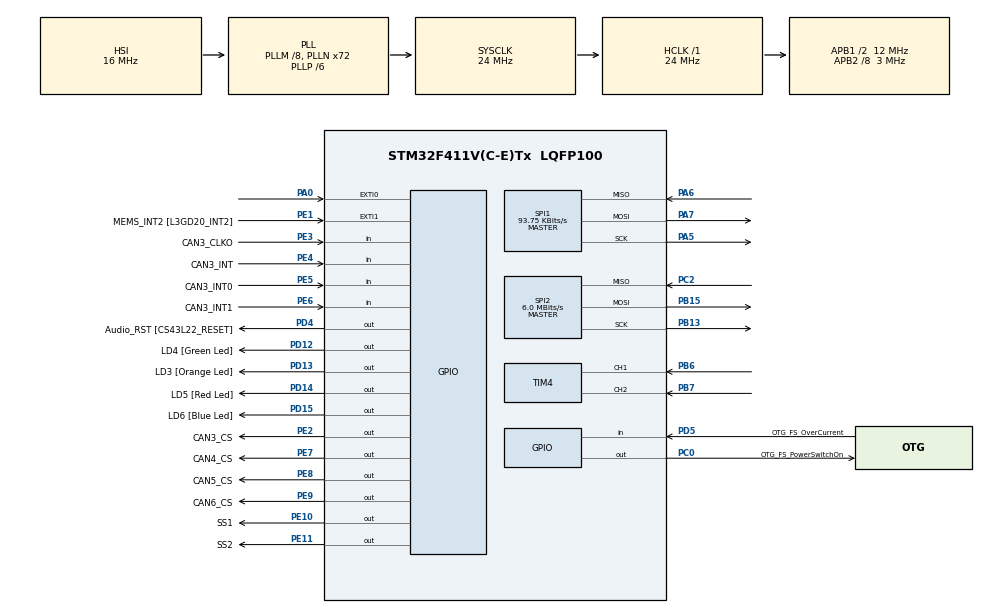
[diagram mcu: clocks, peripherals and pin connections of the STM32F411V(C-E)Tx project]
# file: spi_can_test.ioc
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Mcu.Family=STM32F4
Mcu.Name=STM32F411V(C-E)Tx
Mcu.Package=LQFP100
NVIC.PriorityGroup=NVIC_PRIORITYGROUP_0
PA0-WKUP.GPIO_ModeDefaultEXTI=GPIO_MODE_EVT_RISING
PA0-WKUP.Signal=GPXTI0
PA13.GPIO_Label=SWDIO
PA13.Mode=Serial_Wire
PA13.Signal=SYS_JTMS-SWDIO
PA14.GPIO_Label=SWCLK
PA14.Mode=Serial_Wire
PA14.Signal=SYS_JTCK-SWCLK
PA5.Mode=Full_Duplex_Master
PA5.Signal=SPI1_SCK
PA6.Mode=Full_Duplex_Master
PA6.Signal=SPI1_MISO
PA7.Mode=Full_Duplex_Master
PA7.Signal=SPI1_MOSI
PB13.Mode=Full_Duplex_Master
PB13.Signal=SPI2_SCK
PB15.Mode=Full_Duplex_Master
PB15.Signal=SPI2_MOSI
PB6.Signal=S_TIM4_CH1
PB7.Signal=S_TIM4_CH2
PC0.GPIO_Label=OTG_FS_PowerSwitchOn
PC0.PinState=GPIO_PIN_SET
PC0.Signal=GPIO_Output
PC2.Mode=Full_Duplex_Master
PC2.Signal=SPI2_MISO
PD12.GPIO_Label=LD4 [Green Led]
PD12.GPIO_PuPd=GPIO_NOPULL
PD12.GPIO_Speed=GPIO_SPEED_FREQ_LOW
PD12.Signal=GPIO_Output
PD13.GPIO_Label=LD3 [Orange Led]
PD13.GPIO_PuPd=GPIO_NOPULL
PD13.GPIO_Speed=GPIO_SPEED_FREQ_LOW
PD13.Signal=GPIO_Output
PD14.GPIO_Label=LD5 [Red Led]
PD14.GPIO_PuPd=GPIO_NOPULL
PD14.GPIO_Speed=GPIO_SPEED_FREQ_LOW
PD14.Signal=GPIO_Output
PD15.GPIO_Label=LD6 [Blue Led]
PD15.GPIO_PuPd=GPIO_NOPULL
PD15.GPIO_Speed=GPIO_SPEED_FREQ_LOW
PD15.Signal=GPIO_Output
PD4.GPIO_Label=Audio_RST [CS43L22_RESET]
PD4.Signal=GPIO_Output
PD5.GPIO_Label=OTG_FS_OverCurrent
PD5.Signal=GPIO_Input
PE1.GPIO_Label=MEMS_INT2 [L3GD20_INT2]
PE1.GPIO_ModeDefaultEXTI=GPIO_MODE_EVT_RISING
PE1.Signal=GPXTI1
PE10.GPIO_Label=SS1
PE10.Signal=GPIO_Output
PE11.GPIO_Label=SS2
PE11.Signal=GPIO_Output
PE2.GPIO_Label=CAN3_CS
PE2.Signal=GPIO_Output
PE3.GPIO_Label=CAN3_CLKO
PE3.Signal=GPIO_Input
PE4.GPIO_Label=CAN3_INT
PE4.Signal=GPIO_Input
PE5.GPIO_Label=CAN3_INT0
PE5.Signal=GPIO_Input
PE6.GPIO_Label=CAN3_INT1
PE6.Signal=GPIO_Input
PE7.GPIO_Label=CAN4_CS
PE7.Signal=GPIO_Output
PE8.GPIO_Label=CAN5_CS
PE8.Signal=GPIO_Output
PE9.GPIO_Label=CAN6_CS
PE9.Signal=GPIO_Output
PH0\ -\ OSC_IN.GPIO_Label=PH0-OSC_IN
PH0\ -\ OSC_IN.Mode=HSE-External-Oscillator
PH0\ -\ OSC_IN.Signal=RCC_OSC_IN
PH1\ -\ OSC_OUT.GPIO_Label=PH1-OSC_OUT
PH1\ -\ OSC_OUT.Mode=HSE-External-Oscillator
PH1\ -\ OSC_OUT.Signal=RCC_OSC_OUT
ProjectManager.HeapSize=0x200
ProjectManager.StackSize=0x400
ProjectManager.TargetToolchain=STM32CubeIDE
RCC.48MHZClocksFreq_Value=18000000
RCC.AHBFreq_Value=24000000
RCC.APB1CLKDivider=RCC_HCLK_DIV2
RCC.APB1Freq_Value=12000000
RCC.APB1TimFreq_Value=24000000
RCC.APB2CLKDivider=RCC_HCLK_DIV8
RCC.APB2Freq_Value=3000000
RCC.APB2TimFreq_Value=6000000
RCC.CortexFreq_Value=24000000
RCC.HCLKFreq_Value=24000000
RCC.HSE_VALUE=8000000
RCC.HSI_VALUE=16000000
RCC.LSE_VALUE=32768
RCC.PLLI2SM=5
RCC.PLLI2SN=200
RCC.PLLM=8
RCC.PLLN=72
RCC.PLLP=RCC_PLLP_DIV6
RCC.PLLQ=8
RCC.SYSCLKFreq_VALUE=24000000
RCC.SYSCLKSource=RCC_SYSCLKSOURCE_PLLCLK
RCC.VCOOutputFreq_Value=144000000
SH.S_TIM4_CH1.0=TIM4_CH1,Encoder_Interface
SH.S_TIM4_CH2.0=TIM4_CH2,Encoder_Interface
SPI1.BaudRatePrescaler=SPI_BAUDRATEPRESCALER_32
SPI1.CalculateBaudRate=93.75 KBits/s
SPI1.Direction=SPI_DIRECTION_2LINES
SPI1.Mode=SPI_MODE_MASTER
SPI1.VirtualType=VM_MASTER
SPI2.BaudRatePrescaler=SPI_BAUDRATEPRESCALER_2
SPI2.CalculateBaudRate=6.0 MBits/s
SPI2.Direction=SPI_DIRECTION_2LINES
SPI2.Mode=SPI_MODE_MASTER
SPI2.VirtualType=VM_MASTER
board=STM32F411E-DISCO

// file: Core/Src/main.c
/* USER CODE BEGIN Header */
/**
  ******************************************************************************
  * @file           : main.c
  * @brief          : Main program body
  ******************************************************************************
  * @attention
  *
  * Copyright (c) 2022 STMicroelectronics.
  * All rights reserved.
  *
  * This software is licensed under terms that can be found in the LICENSE file
  * in the root directory of this software component.
  * If no LICENSE file comes with this software, it is provided AS-IS.
  *
  ******************************************************************************
  */
/* USER CODE END Header */
#include "main.h"
#include "spi.h"
#include "tim.h"
#include "gpio.h"

/* USER CODE BEGIN Includes */
#include "drv_canfdspi_register.h"
#include "canfd_stm.h"
#include "canfd_stm_config.h"
#include "DMA.h"
/* USER CODE END Includes */

/* USER CODE BEGIN PD */
#define cINSTRUCTION_RESET			0x00
#define cINSTRUCTION_READ			0x03
#define cINSTRUCTION_READ_CRC       0x0B
#define cINSTRUCTION_WRITE			0x02
#define cINSTRUCTION_WRITE_CRC      0x0A
#define cINSTRUCTION_WRITE_SAFE     0x0C
/* USER CODE END PD */

/* USER CODE BEGIN PV */
uint32_t encoder_counter;
uint32_t eg;

/* USER CODE END PV */

void SystemClock_Config(void);

/* USER CODE BEGIN 0 */
uint8_t spi1_rx_buf[20];
uint8_t my_buffer[6] = {0};
spiCAN spican1;
spiCAN spican2;
spiCAN spican3;
spiCAN spican4;
canMsg msgID = {0};
UsedFIFOs canfd1_fifos = {0};
mcp_status canfd1_status = {0};
CAN_RX_MSGOBJ received_msg = {0};
//mcp2517fd mcp_1 = {0};
/* USER CODE END 0 */

int main(void)
{

  /* MCU Configuration--------------------------------------------------------*/

  /* Reset of all peripherals, Initializes the Flash interface and the Systick. */
  HAL_Init();

  /* Configure the system clock */
  SystemClock_Config();

  /* Initialize all configured peripherals */
  MX_GPIO_Init();
  MX_SPI1_Init();
  MX_SPI2_Init();
  MX_TIM4_Init();
  /* USER CODE BEGIN 2 */
  //SPI1->CR2 |= (1U<<6);	// Enable Rx buffer not empty interrupt
  SPI1->CR1 |= (1U<<6);	// Enable SPI1

  spiCAN1_Init();
  DMA_SPI1RXInit(my_buffer);
  // Init Encoder
//  HAL_TIM_Encoder_Start(&htim4, TIM_CHANNEL_ALL);

  /* USER CODE END 2 */

  /* Infinite loop */
  /* USER CODE BEGIN WHILE */

  HAL_GPIO_WritePin(LD3_GPIO_Port, LD3_Pin, 0);
  HAL_GPIO_WritePin(LD5_GPIO_Port, LD5_Pin, 0);
  canfd_getStatus(&canfd1_status, &spican1);
  canfd_configure(&spican1);
  canfd_getStatus(&canfd1_status, &spican1);
  while (1)
  {
	  static uint32_t counter_rx = 0;
//	  encoder_counter = __HAL_TIM_GET_COUNTER(&htim4);//htim4.Instance->CNT;
//	  eg = 32767 - ((encoder_counter - 1) & 0xFFFF) / 2;
	  if(counter_rx == 1000)
	  {
		  static uint8_t transmit_message[8] = {0};
		  static uint8_t index = 0;
		  if(index >= sizeof(transmit_message))
		  {
			  index = 0;
		  }
		  transmit_message[index++] = 0xEF;

		  canfd_transmit(transmit_message, CAN_FIFO_CH1, &spican1);
		  if(canfd_checkIfFIFOisNotEmpty(CAN_FIFO_CH2, &spican1) == HAL_OK)
		  {
			  canfd_getStatus(&canfd1_status, &spican1);
			  received_msg = canfd_receive(CAN_FIFO_CH2, &spican1);
		  }

		  canfd_getStatus(&canfd1_status, &spican1);
		  counter_rx = 0;
	  }
	  else
	  {
		  counter_rx++;
	  }

    /* USER CODE END WHILE */

  }
}

void SystemClock_Config(void)
{
  RCC_OscInitTypeDef RCC_OscInitStruct = {0};
  RCC_ClkInitTypeDef RCC_ClkInitStruct = {0};

  /** Configure the main internal regulator output voltage
  */
  __HAL_RCC_PWR_CLK_ENABLE();
  __HAL_PWR_VOLTAGESCALING_CONFIG(PWR_REGULATOR_VOLTAGE_SCALE1);

  /** Initializes the RCC Oscillators according to the specified parameters
  * in the RCC_OscInitTypeDef structure.
  */
  RCC_OscInitStruct.OscillatorType = RCC_OSCILLATORTYPE_HSI;
  RCC_OscInitStruct.HSIState = RCC_HSI_ON;
  RCC_OscInitStruct.HSICalibrationValue = RCC_HSICALIBRATION_DEFAULT;
  RCC_OscInitStruct.PLL.PLLState = RCC_PLL_ON;
  RCC_OscInitStruct.PLL.PLLSource = RCC_PLLSOURCE_HSI;
  RCC_OscInitStruct.PLL.PLLM = 8;
  RCC_OscInitStruct.PLL.PLLN = 72;
  RCC_OscInitStruct.PLL.PLLP = RCC_PLLP_DIV6;
  RCC_OscInitStruct.PLL.PLLQ = 8;
  if (HAL_RCC_OscConfig(&RCC_OscInitStruct) != HAL_OK)
  {
    Error_Handler();
  }

  /** Initializes the CPU, AHB and APB buses clocks
  */
  RCC_ClkInitStruct.ClockType = RCC_CLOCKTYPE_HCLK|RCC_CLOCKTYPE_SYSCLK
                              |RCC_CLOCKTYPE_PCLK1|RCC_CLOCKTYPE_PCLK2;
  RCC_ClkInitStruct.SYSCLKSource = RCC_SYSCLKSOURCE_PLLCLK;
  RCC_ClkInitStruct.AHBCLKDivider = RCC_SYSCLK_DIV1;
  RCC_ClkInitStruct.APB1CLKDivider = RCC_HCLK_DIV2;
  RCC_ClkInitStruct.APB2CLKDivider = RCC_HCLK_DIV8;

  if (HAL_RCC_ClockConfig(&RCC_ClkInitStruct, FLASH_LATENCY_0) != HAL_OK)
  {
    Error_Handler();
  }
}

/* USER CODE BEGIN 4 */
void SPI_TransmitReceive (uint8_t *tx_data, int tx_size, uint8_t * rx_data, int rx_size, SPI_TypeDef * SPIx)
{
	/************** STEPS TO FOLLOW *****************
	1. Wait for the TXE bit to set in the Status Register
	2. Write the data to the Data Register
	3. After the data has been transmitted, wait for the BSY bit to reset in Status Register
	4. Clear the Overrun flag by reading DR and SR
	************************************************/

	int i=0;
	while (i<tx_size)
	{
	   while (!((SPIx->SR)&(1<<1))) {};  // wait for TXE bit to set -> This will indicate that the buffer is empty
	   SPIx->DR = tx_data[i];  // load the data into the Data Register
	   i++;
	}
	/*During discontinuous communications, there is a 2 APB clock period delay between the
	write operation to the SPI_DR register and BSY bit setting. As a consequence it is
	mandatory to wait first until TXE is set and then until BSY is cleared after writing the last
	data.
	*/
	while (!((SPIx->SR)&(1<<1))) {};  // wait for TXE bit to set -> This will indicate that the buffer is empty

	while (rx_size)
	{
		while (((SPIx->SR) & (1<<7))) {};  // wait for BSY bit to Reset -> This will indicate that SPI is not busy in communication
		SPIx->DR = 0;  // send dummy data
		while (!((SPIx->SR) & (1<<0))){};  // Wait for RXNE to set -> This will indicate that the Rx buffer is not empty
		*rx_data++ = (SPIx->DR);
		rx_size--;
	}
	//  Clear the Overrun flag by reading DR and SR
	uint32_t temp = SPIx->SR;

}
void SPI_Transmit (uint8_t *data, int size, SPI_TypeDef * SPIx)
{

	/************** STEPS TO FOLLOW *****************
	1. Wait for the TXE bit to set in the Status Register
	2. Write the data to the Data Register
	3. After the data has been transmitted, wait for the BSY bit to reset in Status Register
	4. Clear the Overrun flag by reading DR and SR
	************************************************/

	int i=0;
	while (i<size)
	{
	   while (!((SPIx->SR)&(1<<1))) {};  // wait for TXE bit to set -> This will indicate that the buffer is empty
	   SPIx->DR = data[i];  // load the data into the Data Register
	   i++;
	}

/*During discontinuous communications, there is a 2 APB clock period delay between the
write operation to the SPI_DR register and BSY bit setting. As a consequence it is
mandatory to wait first until TXE is set and then until BSY is cleared after writing the last
data.
*/
	while (!((SPIx->SR)&(1<<1))) {};  // wait for TXE bit to set -> This will indicate that the buffer is empty
	while (((SPIx->SR)&(1<<7))) {};  // wait for BSY bit to Reset -> This will indicate that SPI is not busy in communication

	//  Clear the Overrun flag by reading DR and SR
	uint8_t temp = SPIx->DR;
	temp = SPIx->SR;
	return;

}

void SPI_Receive (uint8_t *data, int size, SPI_TypeDef * SPIx)
{
	/************** STEPS TO FOLLOW *****************
	1. Wait for the BSY bit to reset in Status Register
	2. Send some Dummy data before reading the DATA
	3. Wait for the RXNE bit to Set in the status Register
	4. Read data from Data Register
	************************************************/

	while (size)
	{
		while (((SPIx->SR) & (1<<7))) {};  // wait for BSY bit to Reset -> This will indicate that SPI is not busy in communication
		SPIx->DR = 0;  // send dummy data
		while (!((SPIx->SR) & (1<<0))){};  // Wait for RXNE to set -> This will indicate that the Rx buffer is not empty
	  *data++ = (SPIx->DR);
		size--;
	}
	//  Clear the Overrun flag by reading DR and SR
	uint32_t temp = SPIx->SR;
}
/* USER CODE END 4 */

void Error_Handler(void)
{
  __disable_irq();
  while (1)
  {
  }
}
